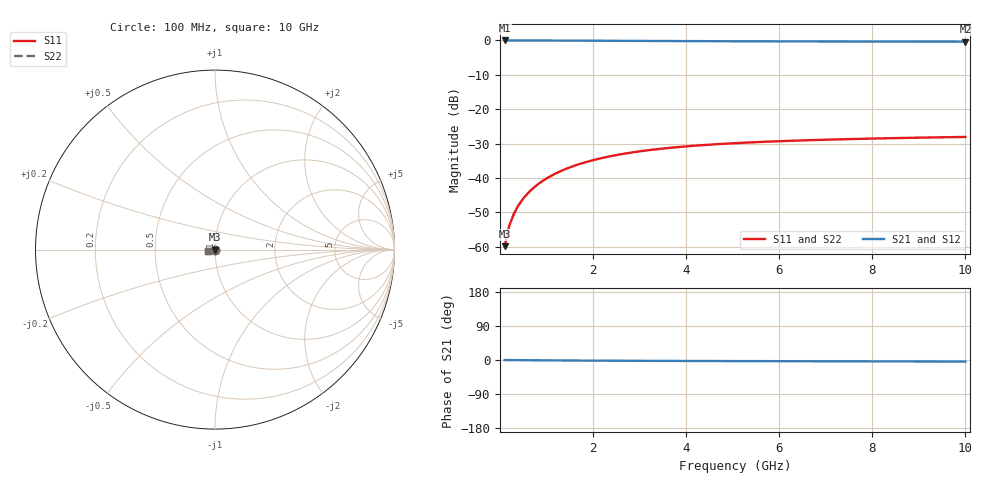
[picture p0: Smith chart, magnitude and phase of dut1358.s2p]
! Touchstone file exported from HFSS 2024.1.0
!  File:  C:/UserFiles/LocalFiles/RDL_TSV_Batchsim/temp_TSV1_1358_1780377874.aedt
!  Generated:  01:28:40 PM Jun  2, 2026
!  Design:  TSV1
!  Project:  temp_TSV1_1358_1780377874
!  Setup:  Setup1
!  Solution:  Sweep
! Variables:
!  dtsv = 9.78um
!  hbump = 3um
!  htsv = 63.3um
!  lrdl = 252.1521522um
!  p = 40
!  p1 = 40.98um
!  t = 500um
!  trdl = 3um
!  wrdl = 24.89489489um
# GHz S MA R 50.000000
! Terminal data exported
! Port[1] = TSV22_T1
! Port[2] = TSV22_T2
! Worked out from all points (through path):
!   100 points, 100 MHz to 10 GHz, reference 50 ohm
!   highest |S21| = 0.00 dB at 100 MHz (marker M1); lowest = -0.4 dB at 10 GHz (marker M2)
!   lowest |S11| = -59.9 dB at 100 MHz (marker M3), VSWR 1.00, Z = 50 - j0.101 ohm
!   |S11| at or under -10 dB: start of sweep to end of sweep
!   |S22| runs from -59.9 to -28.1 dB; largest |S21 - S12| = 3.3e-15
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0.1  0.001016 -83.9  0.9998 -0.1  0.9998 -0.1  0.001016 -83.9
! Gamma 0 0 0 0
! Port Impedance 50 0 50 0
0.2  0.002016 -89.3  0.9997 -0.2  0.9997 -0.2  0.002016 -89.3
0.3  0.003017 -92.2  0.9996 -0.3  0.9996 -0.3  0.003017 -92.2
0.4  0.004014 -94.3  0.9994 -0.4  0.9994 -0.4  0.004014 -94.3
0.5  0.005005 -96.3  0.9991 -0.5  0.9991 -0.5  0.005005 -96.3
0.6  0.005988 -98.1  0.9988 -0.6  0.9988 -0.6  0.005988 -98.1
0.7  0.006962 -99.7  0.9985 -0.7  0.9985 -0.7  0.006962 -99.7
0.8  0.007924 -101.4  0.9981 -0.7  0.9981 -0.7  0.007924 -101.4
0.9  0.008873 -102.9  0.9976 -0.8  0.9976 -0.8  0.008873 -102.9
1.1  0.01073 -106.0  0.9966 -1.0  0.9966 -1.0  0.01073 -106.0
1.4  0.01337 -110.3  0.9949 -1.2  0.9949 -1.2  0.01337 -110.3
1.6  0.01504 -113.0  0.9936 -1.4  0.9936 -1.4  0.01504 -113.0
1.8  0.01662 -115.6  0.9923 -1.5  0.9923 -1.5  0.01662 -115.6
2.1  0.01883 -119.4  0.9903 -1.7  0.9903 -1.7  0.01883 -119.4
2.5  0.02148 -124.0  0.9876 -1.9  0.9876 -1.9  0.02148 -124.0
2.9  0.0238 -128.3  0.9849 -2.1  0.9849 -2.1  0.0238 -128.3
3.4  0.02628 -133.1  0.9817 -2.3  0.9817 -2.3  0.02628 -133.1
4.2  0.02946 -139.7  0.9772 -2.6  0.9772 -2.6  0.02946 -139.7
5.1  0.03215 -145.9  0.9729 -2.9  0.9729 -2.9  0.03215 -145.9
6.7  0.03547 -154.5  0.9672 -3.3  0.9672 -3.3  0.03547 -154.5
8.4  0.03783 -161.6  0.9632 -3.7  0.9632 -3.7  0.03783 -161.6
10  0.03945 -167.2  0.9604 -4.1  0.9604 -4.1  0.03945 -167.2
